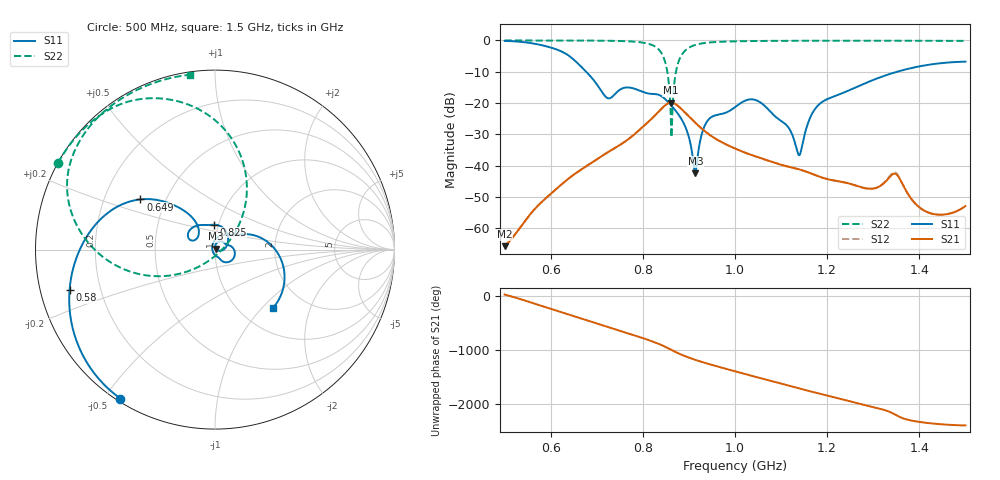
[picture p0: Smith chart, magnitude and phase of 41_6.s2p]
! TOUCHSTONE file generated by CST MICROWAVE STUDIO
! Date and time: Fri Oct  2 19:01:46 2020
! Project name: Scenario_1_Free_Space_out_of_line.cst
! Parameters = {Lambda=346.42; Step_1=17.321; dy1=-346; dx1=1039; L_HA=400; MT=2.54; Rad_Dielectric=30; Rad_Lower=7.3; Rad_Upper=30; a_HA=580; a_WG=246; b_HA=500; b_WG=121; c_HA=0; c_WG=187; d_feed=85; h_feed=15; h_lower=18; h_upper=40}
! Header version: 2018
! Port assignment regex: !\s*Touchstone port\s*([0-9]+)\s*=\s*(CST MWS port|CST DS port)\s*([0-9]+|Zmin|Zmax)\s*\(\"(.*)\"\)(\s*mode\s*([0-9]+))?.*
! Touchstone port assignment:
! Touchstone port 1 = CST MWS port 1 ("")
! Touchstone port 2 = CST MWS port 2 ("")
# GHz S DB R 50
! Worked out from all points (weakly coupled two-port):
!   1003 points, 500 MHz to 1.5 GHz, reference 50 ohm
!   highest |S21| = -19.87 dB at 861 MHz (marker M1); lowest = -65.8 dB at 500 MHz (marker M2)
!   lowest |S11| = -42.5 dB at 914 MHz (marker M3), VSWR 1.02, Z = 50.6 + j0.491 ohm
!   |S11| at or under -10 dB: 677 MHz to 1.352 GHz (675 MHz wide, 66.5 % of centre)
!   |S22| runs from -31.0 to 0.0 dB; largest |S21 - S12| = 0.00056
!   S11 on the Smith chart (normalised r, x): 500 MHz: 0.01, -0.55; 580 MHz: 0.09, -0.14; 649 MHz: 0.36, +0.27; 825 MHz: 0.95, +0.27; 1.5 GHz: 1.41, -1.15
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0.5  -0.15 -122.4  -65.77 26.4  -65.77 26.4  -0.01 151.1
0.58  -1.50 -164.4  -51.72 177.6  -51.72 177.6  -0.01 145.6
0.649  -6.00 146.1  -43.03 -8.8  -43.03 -8.8  -0.03 140.1
0.667  -8.52 135.6  -41.20 -58.1  -41.20 -58.1  -0.04 138.4
0.724  -18.48 142.7  -35.74 148.6  -35.74 148.6  -0.11 131.8
0.825  -17.13 92.9  -24.19 -132.3  -24.19 -132.3  -1.82 99.2
0.834  -17.35 80.0  -22.83 -162.1  -22.83 -162.1  -2.81 90.2
0.85  -18.97 53.8  -20.55 137.5  -20.55 137.5  -7.78 64.3
0.861  -20.69 37.5  -19.87 89.9  -19.87 89.9  -25.81 13.0
0.88  -24.26 11.2  -21.40 10.9  -21.40 10.9  -5.85 -167.1
0.914  -42.52 40.4  -26.35 -98.9  -26.35 -98.9  -1.43 163.1
0.939  -25.97 62.8  -29.53 -165.0  -29.53 -165.0  -0.73 153.2
1  -21.33 15.0  -34.55 50.4  -34.55 50.4  -0.28 140.8
1.057  -20.02 -44.7  -37.67 -79.8  -37.67 -79.8  -0.17 134.1
1.115  -27.64 -74.4  -40.33 150.6  -40.33 150.6  -0.12 128.7
1.139  -36.72 -166.4  -41.20 96.4  -41.21 96.4  -0.11 126.7
1.167  -23.50 81.3  -42.65 33.2  -42.65 33.2  -0.10 124.4
1.291  -13.17 22.2  -47.40 128.8  -47.45 128.7  -0.09 114.9
1.334  -10.82 9.9  -43.93 28.2  -43.63 27.7  -0.09 111.7
1.35  -10.08 4.8  -42.77 -40.0  -42.41 -43.6  -0.09 110.5
1.42  -7.78 -18.7  -55.04 175.2  -55.04 175.2  -0.11 104.9
1.5  -6.78 -44.9  -52.96 131.8  -52.93 132.0  -0.14 98.2
